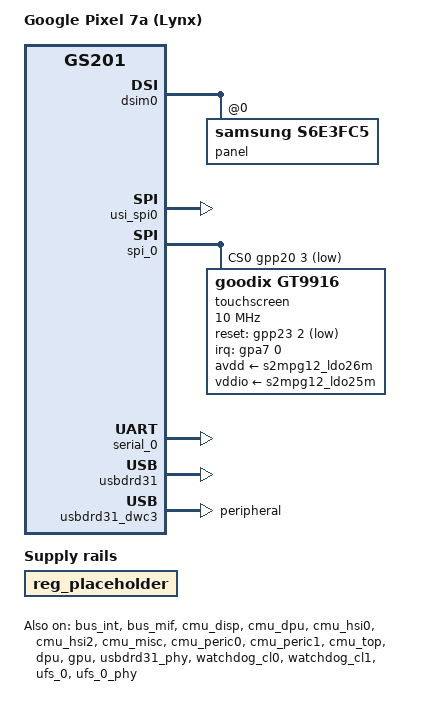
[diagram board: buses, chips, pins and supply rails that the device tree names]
// SPDX-License-Identifier: GPL-2.0-only
/*
 * Lynx (Pixel 7a) Device Tree
 *
 * Copyright 2022-2026 Google LLC
 */

/dts-v1/;

#include <dt-bindings/gpio/gpio.h>
#include <dt-bindings/interrupt-controller/irq.h>
#include <dt-bindings/regulator/samsung,s2mpg12-regulator.h>

#include "gs201.dtsi"

/ {
	model = "Google Pixel 7a (Lynx)";
	compatible = "google,gs201-lynx", "google,gs201";

	chosen {
		#address-cells = <2>;
		#size-cells = <1>;
		ranges;

		stdout-path = "serial0:115200n8";

		/* Use display framebuffer as setup by bootloader */
		framebuffer0: framebuffer-0 {
			compatible = "simple-framebuffer";
			memory-region = <&cont_splash_mem>;
			width = <1080>;
			height = <2400>;
			stride = <(1080 * 4)>;
			format = "a8r8g8b8";
		};
	};

	reserved-memory {
		cont_splash_mem: splash@fac00000 {
			reg = <0x0 0xfac00000 (1080 * 2400 * 4)>;
			no-map;
		};
	};

	reg_placeholder: regulator-0 {
		compatible = "regulator-fixed";
		regulator-name = "placeholder";
	};
};

/* Bring-up: peripherals not listed here keep the bootloader's clock state. */
&acpm_ipc {
	pmic-1 {
		compatible = "samsung,s2mpg12-pmic";
		interrupts-extended = <&gpa0 6 IRQ_TYPE_LEVEL_LOW>;
		pinctrl-names = "default";
		pinctrl-0 = <&pmic_int>;
		wakeup-source;

		/*
		 * Only the rails with a consumer are described; all other
		 * rails stay as the bootloader left them.
		 */
		regulators {
			/* Touchscreen DVDD */
			s2mpg12_ldo25m: ldo25m {
				regulator-name = "ldo25m_ts_dvdd";
				regulator-min-microvolt = <1800000>;
				regulator-max-microvolt = <1800000>;
			};

			/* Touchscreen AVDD */
			s2mpg12_ldo26m: ldo26m {
				regulator-name = "ldo26m_ts_avdd";
				regulator-min-microvolt = <3000000>;
				regulator-max-microvolt = <3000000>;
			};
		};
	};
};

&bus_int {
	status = "okay";
};

&bus_mif {
	status = "okay";
};

&cmu_disp {
	status = "okay";
};

&cmu_dpu {
	status = "okay";
};

&cmu_hsi0 {
	status = "okay";
};

&cmu_hsi2 {
	status = "okay";
};

&cmu_misc {
	status = "okay";
};

&cmu_peric0 {
	status = "okay";
};

&cmu_peric1 {
	status = "okay";
};

&cmu_top {
	status = "okay";
};

&dpu {
	status = "okay";
};

&dsim0 {
	status = "okay";

	panel@0 {
		compatible = "samsung,s6e3fc5";
		reg = <0>;
	};
};

&usi_spi0 {
	status = "okay";
};

&spi_0 {
	cs-gpios = <&gpp20 3 GPIO_ACTIVE_LOW>;
	status = "okay";

	touchscreen@0 {
		compatible = "goodix,gt9916";
		reg = <0>;
		spi-max-frequency = <10000000>;
		interrupt-parent = <&gpa7>;
		interrupts = <0 IRQ_TYPE_EDGE_FALLING>;
		reset-gpios = <&gpp23 2 GPIO_ACTIVE_LOW>;
		avdd-supply = <&s2mpg12_ldo26m>;
		vddio-supply = <&s2mpg12_ldo25m>;
		pinctrl-0 = <&ts_irq &ts_reset>;
		pinctrl-names = "default";
		touchscreen-size-x = <1080>;
		touchscreen-size-y = <2400>;
	};
};

&gpu {
	status = "okay";
};

&serial_0 {
	status = "okay";
};

&usbdrd31 {
	/* TODO: the rails are left on by the bootloader; describe the LDOs */
	vdd10-supply = <&reg_placeholder>;
	vdd33-supply = <&reg_placeholder>;

	status = "okay";
};

&usbdrd31_dwc3 {
	dr_mode = "peripheral";
	maximum-speed = "high-speed";

	status = "okay";
};

&usbdrd31_phy {
	pll-supply = <&reg_placeholder>;
	dvdd-usb20-supply = <&reg_placeholder>;
	vddh-usb20-supply = <&reg_placeholder>;
	vdd33-usb20-supply = <&reg_placeholder>;
	vdda-usbdp-supply = <&reg_placeholder>;
	vddh-usbdp-supply = <&reg_placeholder>;

	status = "okay";
};

&watchdog_cl0 {
	status = "okay";
};

&watchdog_cl1 {
	status = "okay";
};

&ufs_0 {
	status = "okay";
};

&ufs_0_phy {
	status = "okay";
};
